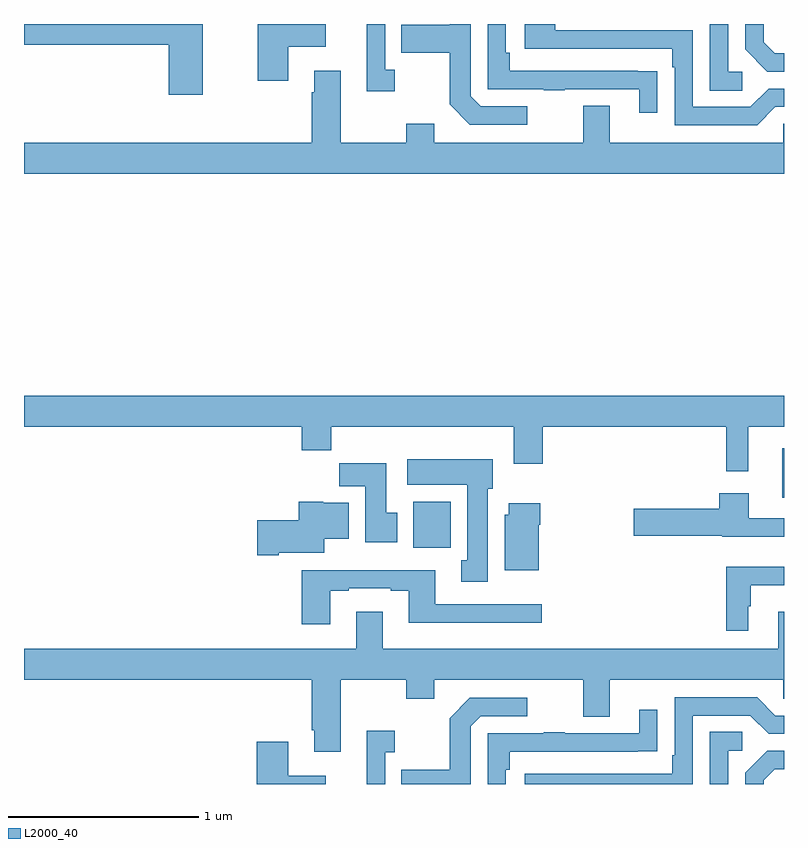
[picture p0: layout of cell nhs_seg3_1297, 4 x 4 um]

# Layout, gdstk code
import gdstk
lib = gdstk.Library(unit=1e-6, precision=1e-09)
def R(c, l, rs):  # rectangles x0, y0, x1, y1
    for r in rs: c.add(gdstk.rectangle(r[:2], r[2:], *l))
def P(c, l, *ps):  # polygons
    for p in ps: c.add(gdstk.Polygon(p, *l))
L2000_40 = (2000, 40)

nhs_seg3_1297 = lib.new_cell('nhs_seg3_1297')
R(nhs_seg3_1297, L2000_40, [(181.049,669.644,181.246,669.886), (182.99,669.906,183,670.168)])
P(nhs_seg3_1297, L2000_40, [(182.779,672.15),(182.706,672.15),(182.706,672.4),(182.61,672.4),(182.61,672.049),(182.779,672.049)],
  [(180.952,672.158),(180.9,672.158),(180.9,672.4),(180.803,672.4),(180.803,672.045),(180.952,672.045)],
  [(182.955,671.964),(183,671.964),(183,672.06),(182.919,672.06),(182.823,671.964),(182.52,671.964),(182.52,672.366),(181.796,672.366),(181.796,672.4),(181.635,672.4),(181.635,672.27),(182.411,672.27),(182.411,672.173),(182.424,672.173),(182.424,671.868),(182.859,671.868)],
  [(180.391,672.281),(180.589,672.281),(180.589,672.4),(180.229,672.4),(180.229,672.102),(180.391,672.102)],
  [(181.648,671.967),(181.404,671.967),(181.35,672.021),(181.35,672.4),(181.242,672.4),(181.242,672.397),(180.985,672.397),(180.985,672.25),(181.242,672.25),(181.242,671.977),(181.347,671.871),(181.648,671.871)],
  [(183,672.246),(182.95,672.246),(182.893,672.303),(182.893,672.4),(182.796,672.4),(182.796,672.266),(182.912,672.15),(183,672.15)],
  [(182.333,672.152),(182.231,672.152),(182.231,672.153),(181.556,672.153),(181.556,672.25),(181.536,672.25),(181.536,672.4),(181.44,672.4),(181.44,672.057),(181.735,672.057),(181.735,672.052),(181.847,672.052),(181.847,672.057),(182.237,672.057),(182.237,671.934),(182.333,671.934)],
  [(179.94,672.4),(179,672.4),(179,672.292),(179.762,672.292),(179.762,672.027),(179.94,672.027)],
  [(183,671.874),(182.997,671.874),(182.997,671.776),(182.083,671.776),(182.083,671.971),(181.943,671.971),(181.943,671.776),(181.159,671.776),(181.159,671.875),(181.012,671.875),(181.012,671.776),(180.667,671.776),(180.667,672.154),(180.527,672.154),(180.527,672.041),(180.515,672.041),(180.515,671.776),(179,671.776),(179,671.612),(183,671.612)],
  [(182.813,670.28),(183,670.28),(183,670.444),(179,670.444),(179,670.28),(180.461,670.28),(180.461,670.156),(180.617,670.156),(180.617,670.28),(181.577,670.28),(181.577,670.086),(181.73,670.086),(181.73,670.28),(182.695,670.28),(182.695,670.047),(182.813,670.047)],
  [(181.441,669.954),(181.468,669.954),(181.468,670.108),(181.017,670.108),(181.017,669.974),(181.334,669.974),(181.334,669.578),(181.301,669.578),(181.301,669.465),(181.441,669.465)],
  [(180.964,669.828),(180.907,669.828),(180.907,670.087),(180.658,670.087),(180.658,669.968),(180.797,669.968),(180.797,669.672),(180.964,669.672)],
  [(183,669.798),(182.815,669.798),(182.815,669.931),(182.66,669.931),(182.66,669.849),(182.208,669.849),(182.208,669.707),(182.676,669.707),(182.676,669.701),(183,669.701)],
  [(180.34,669.617),(180.58,669.617),(180.58,669.692),(180.709,669.692),(180.709,669.88),(180.576,669.88),(180.576,669.886),(180.446,669.886),(180.446,669.788),(180.228,669.788),(180.228,669.605),(180.34,669.605)],
  [(181.708,669.764),(181.716,669.764),(181.716,669.877),(181.55,669.877),(181.55,669.816),(181.529,669.816),(181.529,669.524),(181.708,669.524)],
  [(182.812,669.335),(182.824,669.335),(182.824,669.446),(183,669.446),(183,669.544),(182.695,669.544),(182.695,669.207),(182.812,669.207)],
  [(180.613,669.417),(180.709,669.417),(180.709,669.429),(180.929,669.429),(180.929,669.417),(181.025,669.417),(181.025,669.248),(181.726,669.248),(181.726,669.345),(181.165,669.345),(181.165,669.526),(180.461,669.526),(180.461,669.24),(180.613,669.24)],
  [(180.667,668.948),(181.012,668.948),(181.012,668.849),(181.159,668.849),(181.159,668.948),(181.943,668.948),(181.943,668.754),(182.083,668.754),(182.083,668.948),(182.997,668.948),(182.997,668.85),(183,668.85),(183,669.307),(182.969,669.307),(182.969,669.112),(180.889,669.112),(180.889,669.307),(180.749,669.307),(180.749,669.112),(179,669.112),(179,668.948),(180.515,668.948),(180.515,668.683),(180.527,668.683),(180.527,668.571),(180.667,668.571)],
  [(182.52,668.76),(182.823,668.76),(182.919,668.664),(183,668.664),(183,668.76),(182.955,668.76),(182.859,668.856),(182.424,668.856),(182.424,668.551),(182.411,668.551),(182.411,668.454),(181.635,668.454),(181.635,668.4),(182.52,668.4)],
  [(181.35,668.703),(181.404,668.757),(181.648,668.757),(181.648,668.853),(181.347,668.853),(181.242,668.747),(181.242,668.475),(180.985,668.475),(180.985,668.4),(181.35,668.4)],
  [(181.536,668.474),(181.556,668.474),(181.556,668.571),(182.231,668.571),(182.231,668.572),(182.333,668.572),(182.333,668.791),(182.237,668.791),(182.237,668.667),(181.847,668.667),(181.847,668.672),(181.735,668.672),(181.735,668.667),(181.44,668.667),(181.44,668.4),(181.536,668.4)],
  [(180.9,668.567),(180.952,668.567),(180.952,668.68),(180.803,668.68),(180.803,668.4),(180.9,668.4)],
  [(182.706,668.574),(182.779,668.574),(182.779,668.675),(182.61,668.675),(182.61,668.4),(182.706,668.4)],
  [(180.589,668.443),(180.391,668.443),(180.391,668.623),(180.224,668.623),(180.224,668.4),(180.589,668.4)],
  [(182.893,668.421),(182.95,668.478),(183,668.478),(183,668.574),(182.912,668.574),(182.796,668.458),(182.796,668.4),(182.893,668.4)])

lib.write_gds('nhs_seg3_1297.gds')
